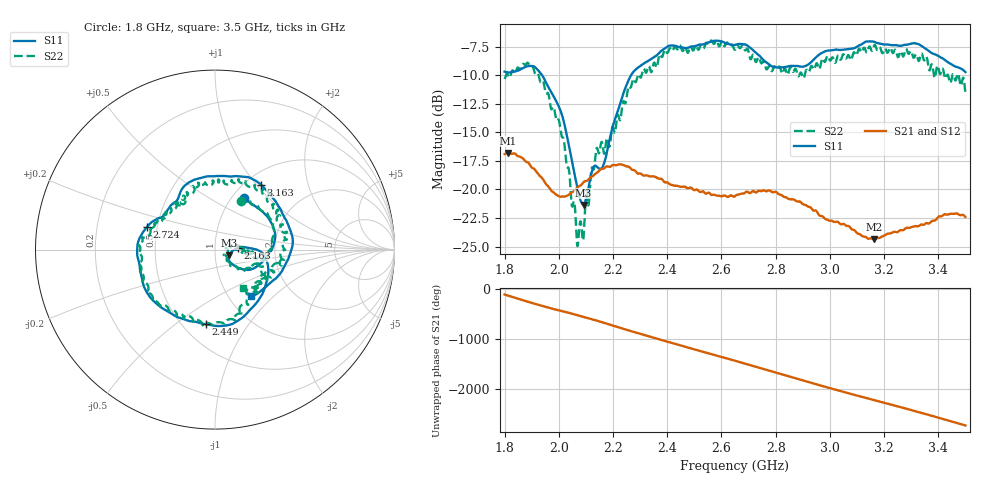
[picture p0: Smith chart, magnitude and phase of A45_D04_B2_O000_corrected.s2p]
! Created with skrf 1.9.0 (http://scikit-rf.org).
# Hz S RI R 50.0
!freq ReS11 ImS11 ReS21 ImS21 ReS12 ImS12 ReS22 ImS22
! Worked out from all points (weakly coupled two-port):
!   1601 points, 1.8 GHz to 3.5 GHz, reference 50 ohm
!   highest |S21| = -16.80 dB at 1.812 GHz (marker M1); lowest = -24.4 dB at 3.162 GHz (marker M2)
!   lowest |S11| = -21.4 dB at 2.091 GHz (marker M3), VSWR 1.19, Z = 58.5 - j3.69 ohm
!   |S11| at or under -10 dB: 1.939 GHz to 2.266 GHz (327.8 MHz wide, 15.6 % of centre)
!   |S22| runs from -25.0 to -6.9 dB; largest |S21 - S12| = 0.0023
!   S11 on the Smith chart (normalised r, x): 1.8 GHz: 1.13, +0.73; 2.163 GHz: 1.29, +0.02; 2.449 GHz: 0.65, -0.65; 2.724 GHz: 0.44, +0.13; 3.163 GHz: 1.18, +1.06; 3.5 GHz: 1.27, -0.73
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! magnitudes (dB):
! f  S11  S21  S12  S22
! 1.8 GHz  -9.7  -16.9  -16.9  -10.3
! 1.812 GHz  -9.7  -16.8  -16.8  -10.0
! 1.884 GHz  -9.2  -17.6  -17.6  -8.9
! 1.942 GHz  -10.1  -19.1  -19.1  -10.5
! 2.011 GHz  -13.5  -20.6  -20.6  -15.4
! 2.067 GHz  -19.6  -19.9  -19.9  -24.6
! 2.084 GHz  -21.1  -19.6  -19.5  -23.3
! 2.091 GHz  -21.4  -19.4  -19.4  -24.3
! 2.131 GHz  -17.9  -18.7  -18.7  -17.9
! 2.163 GHz  -17.9  -18.2  -18.1  -16.4
! 2.261 GHz  -10.2  -18.1  -18.1  -11.0
! 2.367 GHz  -8.1  -19.0  -19.0  -8.6
! 2.449 GHz  -7.6  -19.8  -19.8  -7.4
! 2.65 GHz  -7.3  -20.6  -20.6  -7.8
! 2.724 GHz  -8.0  -20.2  -20.2  -8.7
! 2.799 GHz  -9.3  -20.2  -20.2  -9.3
! 2.934 GHz  -8.8  -21.7  -21.7  -9.2
! 3.162 GHz  -7.0  -24.4  -24.3  -7.5
! 3.163 GHz  -7.1  -24.4  -24.3  -7.4
! 3.217 GHz  -7.3  -23.9  -23.8  -7.8
! 3.324 GHz  -7.2  -23.2  -23.2  -8.5
! 3.5 GHz  -9.7  -22.4  -22.4  -11.5
